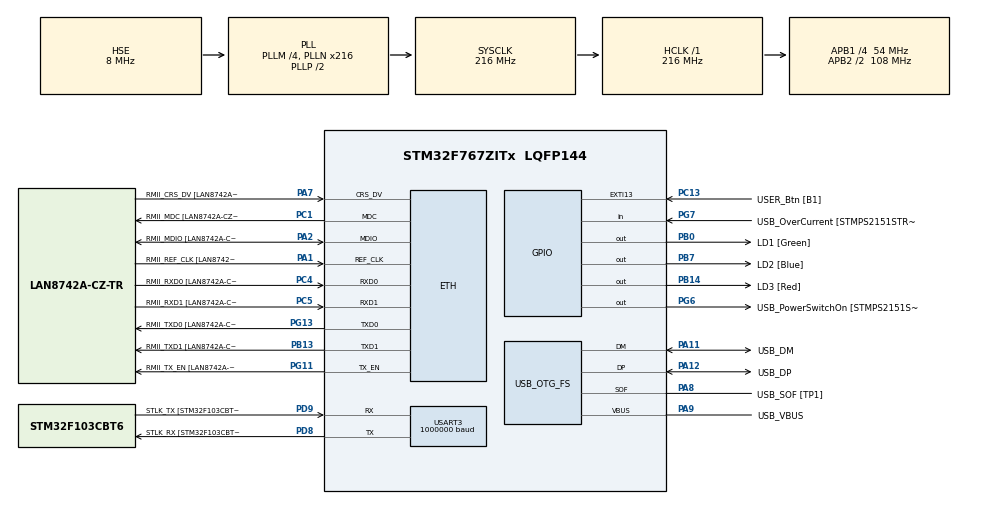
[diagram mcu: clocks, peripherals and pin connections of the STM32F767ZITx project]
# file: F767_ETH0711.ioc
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Dma.Request0=USART3_RX
Dma.USART3_RX.0.Direction=DMA_PERIPH_TO_MEMORY
Dma.USART3_RX.0.FIFOMode=DMA_FIFOMODE_DISABLE
Dma.USART3_RX.0.Instance=DMA1_Stream1
Dma.USART3_RX.0.MemDataAlignment=DMA_MDATAALIGN_BYTE
Dma.USART3_RX.0.MemInc=DMA_MINC_ENABLE
Dma.USART3_RX.0.Mode=DMA_NORMAL
Dma.USART3_RX.0.PeriphDataAlignment=DMA_PDATAALIGN_BYTE
Dma.USART3_RX.0.PeriphInc=DMA_PINC_DISABLE
Dma.USART3_RX.0.Priority=DMA_PRIORITY_LOW
ETH.MediaInterface=ETH_MEDIA_INTERFACE_RMII
ETH.PHY_Name=LAN8742A_PHY_ADDRESS
ETH.PHY_Value=0
ETH.PhyAddress=0
FREERTOS.INCLUDE_pcTaskGetTaskName=1
FREERTOS.INCLUDE_uxTaskGetStackHighWaterMark2=1
FREERTOS.INCLUDE_vTaskCleanUpResources=1
FREERTOS.INCLUDE_xEventGroupSetBitFromISR=1
FREERTOS.INCLUDE_xSemaphoreGetMutexHolder=1
FREERTOS.INCLUDE_xTaskAbortDelay=1
FREERTOS.INCLUDE_xTaskGetCurrentTaskHandle=1
FREERTOS.INCLUDE_xTaskGetHandle=1
FREERTOS.Tasks01=defaultTask,24,256,StartDefaultTask,Default,NULL,Dynamic,NULL,NULL
FREERTOS.configMINIMAL_STACK_SIZE=256
FREERTOS.configUSE_NEWLIB_REENTRANT=0
LWIP.ETHARP_DEBUG=LWIP_DBG_ON
LWIP.IP_FORWARD=0
LWIP.LWIP_COMPAT_SOCKETS=2
LWIP.LWIP_DNS=1
LWIP.LWIP_IPV6=0
LWIP.LWIP_NETIF_EXT_STATUS_CALLBACK=1
LWIP.LWIP_NETIF_LINK_CALLBACK=1
LWIP.LWIP_NETIF_LOOPBACK=1
LWIP.LWIP_NETIF_STATUS_CALLBACK=1
LWIP.LWIP_TCP_SACK_OUT=1
LWIP.NETIF_DEBUG=LWIP_DBG_ON
LWIP.SOCKETS_DEBUG=LWIP_DBG_ON
LWIP.TCP_DEBUG=LWIP_DBG_ON
LWIP.Version=v2.1.2_Cube
Mcu.Family=STM32F7
Mcu.Name=STM32F767ZITx
Mcu.Package=LQFP144
NVIC.DMA1_Stream1_IRQn=true\:5\:0\:false\:false\:true\:true\:false\:true
NVIC.ETH_IRQn=true\:5\:0\:false\:false\:true\:true\:false\:true
NVIC.PriorityGroup=NVIC_PRIORITYGROUP_4
NVIC.USART3_IRQn=true\:5\:0\:false\:false\:true\:true\:true\:true
PA1.GPIO_Label=RMII_REF_CLK [LAN8742A-CZ-TR_REFCLK0]
PA1.Mode=RMII
PA1.Signal=ETH_REF_CLK
PA10.GPIO_Label=USB_ID
PA10.Signal=USB_OTG_FS_ID
PA11.GPIO_Label=USB_DM
PA11.Mode=Device_Only
PA11.Signal=USB_OTG_FS_DM
PA12.GPIO_Label=USB_DP
PA12.Mode=Device_Only
PA12.Signal=USB_OTG_FS_DP
PA13.GPIO_Label=TMS
PA13.Mode=Serial_Wire
PA13.Signal=SYS_JTMS-SWDIO
PA14.GPIO_Label=TCK
PA14.Mode=Serial_Wire
PA14.Signal=SYS_JTCK-SWCLK
PA2.GPIO_Label=RMII_MDIO [LAN8742A-CZ-TR_MDIO]
PA2.Mode=RMII
PA2.Signal=ETH_MDIO
PA7.GPIO_Label=RMII_CRS_DV [LAN8742A-CZ-TR_CRS_DV]
PA7.Mode=RMII
PA7.Signal=ETH_CRS_DV
PA8.GPIO_Label=USB_SOF [TP1]
PA8.Mode=Activate_SOF_FS
PA8.Signal=USB_OTG_FS_SOF
PA9.GPIO_Label=USB_VBUS
PA9.Mode=Activate_VBUS
PA9.Signal=USB_OTG_FS_VBUS
PB0.GPIO_Label=LD1 [Green]
PB0.Signal=GPIO_Output
PB13.GPIO_Label=RMII_TXD1 [LAN8742A-CZ-TR_TXD1]
PB13.Mode=RMII
PB13.Signal=ETH_TXD1
PB14.GPIO_Label=LD3 [Red]
PB14.Signal=GPIO_Output
PB3.GPIO_Label=SWO
PB3.Signal=SYS_JTDO-SWO
PB7.GPIO_Label=LD2 [Blue]
PB7.Signal=GPIO_Output
PC1.GPIO_Label=RMII_MDC [LAN8742A-CZ-TR_MDC]
PC1.Mode=RMII
PC1.Signal=ETH_MDC
PC13.GPIO_Label=USER_Btn [B1]
PC13.Signal=GPXTI13
PC14/OSC32_IN.Mode=LSE-External-Oscillator
PC14/OSC32_IN.Signal=RCC_OSC32_IN
PC15/OSC32_OUT.Mode=LSE-External-Oscillator
PC15/OSC32_OUT.Signal=RCC_OSC32_OUT
PC4.GPIO_Label=RMII_RXD0 [LAN8742A-CZ-TR_RXD0]
PC4.Mode=RMII
PC4.Signal=ETH_RXD0
PC5.GPIO_Label=RMII_RXD1 [LAN8742A-CZ-TR_RXD1]
PC5.Mode=RMII
PC5.Signal=ETH_RXD1
PD8.GPIO_Label=STLK_RX [STM32F103CBT6_PA3]
PD8.Mode=Asynchronous
PD8.Signal=USART3_TX
PD9.GPIO_Label=STLK_TX [STM32F103CBT6_PA2]
PD9.Mode=Asynchronous
PD9.Signal=USART3_RX
PG11.GPIO_Label=RMII_TX_EN [LAN8742A-CZ-TR_TXEN]
PG11.Mode=RMII
PG11.Signal=ETH_TX_EN
PG13.GPIO_Label=RMII_TXD0 [LAN8742A-CZ-TR_TXD0]
PG13.Mode=RMII
PG13.Signal=ETH_TXD0
PG6.GPIO_Label=USB_PowerSwitchOn [STMPS2151STR_EN]
PG6.Signal=GPIO_Output
PG7.GPIO_Label=USB_OverCurrent [STMPS2151STR_FAULT]
PG7.Signal=GPIO_Input
PH0/OSC_IN.GPIO_Label=MCO [STM32F103CBT6_PA8]
PH0/OSC_IN.Mode=HSE-External-Clock-Source
PH0/OSC_IN.Signal=RCC_OSC_IN
PH1/OSC_OUT.Mode=HSE-External-Clock-Source
PH1/OSC_OUT.Signal=RCC_OSC_OUT
ProjectManager.HeapSize=0x1000
ProjectManager.StackSize=0x1000
ProjectManager.TargetToolchain=MDK-ARM V5.27
RCC.48MHZClocksFreq_Value=24000000
RCC.AHBFreq_Value=216000000
RCC.APB1CLKDivider=RCC_HCLK_DIV4
RCC.APB1Freq_Value=54000000
RCC.APB1TimFreq_Value=108000000
RCC.APB2CLKDivider=RCC_HCLK_DIV2
RCC.APB2Freq_Value=108000000
RCC.APB2TimFreq_Value=216000000
RCC.CortexFreq_Value=216000000
RCC.HCLKFreq_Value=216000000
RCC.HSE_VALUE=8000000
RCC.HSI_VALUE=16000000
RCC.PLLM=4
RCC.PLLMUL=RCC_PLL_MUL9
RCC.PLLN=216
RCC.PLLQ=9
RCC.PRESCALERUSB=RCC_USBCLKSOURCE_PLL_DIV1_5
RCC.SYSCLKFreq_VALUE=216000000
RCC.SYSCLKSource=RCC_SYSCLKSOURCE_PLLCLK
RCC.SYSCLKSourceVirtual=RCC_SYSCLKSOURCE_PLLCLK
RCC.USBFreq_Value=48000000
RCC.VCOOutputFreq_Value=432000000
USART3.BaudRate=1000000
USART3.VirtualMode-Asynchronous=VM_ASYNC
USB_OTG_FS.VirtualMode=Device_Only
VP_FREERTOS_VS_CMSIS_V2.Mode=CMSIS_V2
VP_LWIP_VS_Enabled.Mode=Enabled
board=NUCLEO-F767ZI

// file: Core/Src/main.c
/* USER CODE BEGIN Header */
/**
  ******************************************************************************
  * @file           : main.c
  * @brief          : Main program body
  ******************************************************************************
  * @attention
  *
  * <h2><center>&copy; Copyright (c) 2020 STMicroelectronics.
  * All rights reserved.</center></h2>
  *
  * This software component is licensed by ST under Ultimate Liberty license
  * SLA0044, the "License"; You may not use this file except in compliance with
  * the License. You may obtain a copy of the License at:
  *                             www.st.com/SLA0044
  *
  ******************************************************************************
  */
/* USER CODE END Header */
#include "main.h"
#include "cmsis_os.h"
#include "dma.h"
#include "lwip.h"
#include "usart.h"
#include "usb_otg.h"
#include "gpio.h"

/* USER CODE BEGIN Includes */
#include "tcp_client.h"
#include "printf.h"
#include "kfifo.h"
/* USER CODE END Includes */

void SystemClock_Config(void);
void MX_FREERTOS_Init(void);

int main(void)
{

    /* MCU Configuration--------------------------------------------------------*/

    /* Reset of all peripherals, Initializes the Flash interface and the Systick. */
    HAL_Init();

    /* Configure the system clock */
    SystemClock_Config();

    /* Initialize all configured peripherals */
    MX_GPIO_Init();
    MX_DMA_Init();
    MX_USART3_UART_Init();
    MX_USB_OTG_FS_USB_Init();
    /* USER CODE BEGIN 2 */

    my_fifo_init(&gFifoRx, gTcpReg.rx_buff, TCP_BUFF_MAX);
    my_fifo_init(&gFifoTx, gTcpReg.tx_buff, TCP_BUFF_MAX);

    HAL_UART_Receive_DMA(&huart3, gTcpReg.dma_buff, UART_DMA_BUFF_MAX);
    __HAL_UART_ENABLE_IT(&huart3, UART_IT_IDLE);

    /* USER CODE END 2 */

    /* Init scheduler */
    osKernelInitialize();  /* Call init function for freertos objects (in freertos.c) */
    MX_FREERTOS_Init();
    /* Start scheduler */
    osKernelStart();

    /* We should never get here as control is now taken by the scheduler */
    /* Infinite loop */
    while (1)
    {

    }
}

void SystemClock_Config(void)
{
    RCC_OscInitTypeDef RCC_OscInitStruct = {0};
    RCC_ClkInitTypeDef RCC_ClkInitStruct = {0};
    RCC_PeriphCLKInitTypeDef PeriphClkInitStruct = {0};

    /** Configure LSE Drive Capability
    */
    HAL_PWR_EnableBkUpAccess();
    /** Configure the main internal regulator output voltage
    */
    __HAL_RCC_PWR_CLK_ENABLE();
    __HAL_PWR_VOLTAGESCALING_CONFIG(PWR_REGULATOR_VOLTAGE_SCALE1);
    /** Initializes the RCC Oscillators according to the specified parameters
    * in the RCC_OscInitTypeDef structure.
    */
    RCC_OscInitStruct.OscillatorType = RCC_OSCILLATORTYPE_HSE;
    RCC_OscInitStruct.HSEState = RCC_HSE_BYPASS;
    RCC_OscInitStruct.PLL.PLLState = RCC_PLL_ON;
    RCC_OscInitStruct.PLL.PLLSource = RCC_PLLSOURCE_HSE;
    RCC_OscInitStruct.PLL.PLLM = 4;
    RCC_OscInitStruct.PLL.PLLN = 216;
    RCC_OscInitStruct.PLL.PLLP = RCC_PLLP_DIV2;
    RCC_OscInitStruct.PLL.PLLQ = 9;
    if (HAL_RCC_OscConfig(&RCC_OscInitStruct) != HAL_OK)
    {
        Error_Handler();
    }
    /** Activate the Over-Drive mode
    */
    if (HAL_PWREx_EnableOverDrive() != HAL_OK)
    {
        Error_Handler();
    }
    /** Initializes the CPU, AHB and APB buses clocks
    */
    RCC_ClkInitStruct.ClockType = RCC_CLOCKTYPE_HCLK | RCC_CLOCKTYPE_SYSCLK
                                  | RCC_CLOCKTYPE_PCLK1 | RCC_CLOCKTYPE_PCLK2;
    RCC_ClkInitStruct.SYSCLKSource = RCC_SYSCLKSOURCE_PLLCLK;
    RCC_ClkInitStruct.AHBCLKDivider = RCC_SYSCLK_DIV1;
    RCC_ClkInitStruct.APB1CLKDivider = RCC_HCLK_DIV4;
    RCC_ClkInitStruct.APB2CLKDivider = RCC_HCLK_DIV2;

    if (HAL_RCC_ClockConfig(&RCC_ClkInitStruct, FLASH_LATENCY_7) != HAL_OK)
    {
        Error_Handler();
    }
    PeriphClkInitStruct.PeriphClockSelection = RCC_PERIPHCLK_USART3 | RCC_PERIPHCLK_CLK48;
    PeriphClkInitStruct.Usart3ClockSelection = RCC_USART3CLKSOURCE_PCLK1;
    PeriphClkInitStruct.Clk48ClockSelection = RCC_CLK48SOURCE_PLL;
    if (HAL_RCCEx_PeriphCLKConfig(&PeriphClkInitStruct) != HAL_OK)
    {
        Error_Handler();
    }
}

void Error_Handler(void)
{
}

/************************ (C) COPYRIGHT STMicroelectronics *****END OF FILE****/

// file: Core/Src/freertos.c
/* USER CODE BEGIN Header */
/**
  ******************************************************************************
  * File Name          : freertos.c
  * Description        : Code for freertos applications
  ******************************************************************************
  * @attention
  *
  * <h2><center>&copy; Copyright (c) 2020 STMicroelectronics.
  * All rights reserved.</center></h2>
  *
  * This software component is licensed by ST under Ultimate Liberty license
  * SLA0044, the "License"; You may not use this file except in compliance with
  * the License. You may obtain a copy of the License at:
  *                             www.st.com/SLA0044
  *
  ******************************************************************************
  */
/* USER CODE END Header */

#include "FreeRTOS.h"
#include "task.h"
#include "main.h"
#include "cmsis_os.h"

/* USER CODE BEGIN Includes */
#include "printf.h"
#include "tcp_client.h"
#include "mqttclient.h"

#include "semphr.h"
#include "queue.h"

#include "tftlcd.h"
#include "lcd_print.h"
#include "pic.h"
/* USER CODE END Includes */

/* USER CODE BEGIN PM */

#include "queue.h"
QueueHandle_t MQTT_Data_Queue = NULL;

/* USER CODE END PM */

/* Definitions for defaultTask */
osThreadId_t defaultTaskHandle;
const osThreadAttr_t defaultTask_attributes = {
    .name = "defaultTask",
    .priority = (osPriority_t) osPriorityNormal,
    .stack_size = 256 * 4
};

/* USER CODE BEGIN FunctionPrototypes */
//task_led
osThreadId_t task_led_handle;
const osThreadAttr_t task_led_attributes = {
    .name = "task_led",
    .priority = (osPriority_t) osPriorityHigh,
    .stack_size = 256 * 4
};
void task_led_entry(void *argument);

//task_test_c
osThreadId_t task_test_c_handle;
const osThreadAttr_t task_test_c_attributes = {
    .name = "task_test_c",
    .priority = (osPriority_t) osPriorityNormal,
    .stack_size = 256 * 4
};
void task_test_c_entry(void *argument);

//task_test_c
osThreadId_t lcd_dis_handle;
const osThreadAttr_t lcd_dis_attributes = {
    .name = "lcd_dis",
    .priority = (osPriority_t) osPriorityRealtime,
    .stack_size = 256 * 4
};
void lcd_dis_entry(void *argument);

/* USER CODE END FunctionPrototypes */

void StartDefaultTask(void *argument);

extern void MX_LWIP_Init(void);
void MX_FREERTOS_Init(void); /* (MISRA C 2004 rule 8.1) */

void MX_FREERTOS_Init(void) {

    /* USER CODE BEGIN RTOS_QUEUES */
    /* add queues, ... */
    /* 创建Test_Queue */
    MQTT_Data_Queue = xQueueCreate(10, sizeof(DHT11_Data_TypeDef));    /*消息的大�? */
    /* USER CODE END RTOS_QUEUES */

    /* Create the thread(s) */
    /* creation of defaultTask */
    //defaultTaskHandle = osThreadNew(StartDefaultTask, NULL, &defaultTask_attributes);

    /* USER CODE BEGIN RTOS_THREADS */
    /* add threads, ... */
    task_led_handle = osThreadNew(task_led_entry, NULL, &task_led_attributes);
    lcd_dis_handle = osThreadNew(lcd_dis_entry, NULL, &lcd_dis_attributes);
    task_test_c_handle = osThreadNew(task_test_c_entry, NULL, &task_test_c_attributes);

    /* USER CODE END RTOS_THREADS */

}

void StartDefaultTask(void *argument)
{
    /* init code for LWIP */
    MX_LWIP_Init();
    /* USER CODE BEGIN StartDefaultTask */

    mqtt_thread_init();

    /* Infinite loop */
    for(;;)
    {
        task_tcp_client();
        osDelay(100);
    }
    /* USER CODE END StartDefaultTask */
}

/* USER CODE BEGIN Application */
uint32_t task_led_cnt = 0;
char buff[200] = {0};
void task_led_entry(void *argument)
{
    uint8_t led_flag = 1;

    TFTLCD_Init_ILI9225();

    while(1)
    {
        HAL_GPIO_WritePin(LD1_GPIO_Port, LD1_Pin, (GPIO_PinState)(led_flag & (1 << 0)));
        HAL_GPIO_WritePin(LD2_GPIO_Port, LD2_Pin, (GPIO_PinState)(led_flag & (1 << 1)));
        HAL_GPIO_WritePin(LD3_GPIO_Port, LD3_Pin, (GPIO_PinState)(led_flag & (1 << 2)));

        led_flag <<= 1;
        if(led_flag >= 0x10)
        {
            led_flag = 0x01;
        }

        uint8_t size = sizeof(color_buff)/sizeof(color_buff[0]);

        //打印空闲堆栈
        lcd_print("xPortGetFreeHeapSize = %d", xPortGetFreeHeapSize());
        //lcd_print("xPortGetMinimumEverFreeHeapSize = %d",xPortGetMinimumEverFreeHeapSize());

        osDelay(1000);
    }
}

DHT11_Data_TypeDef test = {0};
void task_test_c_entry(void *argument)
{
    uint32_t task_cnt = 0;

    while(1)
    {
        test.humidity += 0.1;
        test.temperature += 0.1;

        xQueueSend(MQTT_Data_Queue, &test, 0);

        task_cnt++;
        //lcd_print("task_cnt = %04d", task_cnt);
        int * temp = malloc(10000);
        *temp = 1000;
        (*temp)++;
        lcd_print("*temp = %d", *temp);

        if(task_cnt > 20)
        {
//            task_cnt = 0;
//            __HAL_RCC_PWR_CLK_ENABLE();
//            HAL_GPIO_DeInit(GPIOA, GPIO_PIN_All);
//            HAL_GPIO_DeInit(GPIOB, GPIO_PIN_All);
//            HAL_GPIO_DeInit(GPIOC, GPIO_PIN_All);
//            HAL_GPIO_DeInit(GPIOD, GPIO_PIN_All);
//            HAL_GPIO_DeInit(GPIOE, GPIO_PIN_All);
//            HAL_GPIO_DeInit(GPIOF, GPIO_PIN_All);
//            HAL_GPIO_DeInit(GPIOG, GPIO_PIN_All);
//            __disable_irq();
//            HAL_PWREx_EnableFlashPowerDown();
//            __HAL_RCC_CLEAR_RESET_FLAGS();
//            HAL_PWR_EnableWakeUpPin(PWR_WAKEUP_PIN1);
//            __HAL_PWR_CLEAR_FLAG(PWR_FLAG_WU);
//            HAL_PWR_EnterSTANDBYMode();
        }

        osDelay(200);
    }
}

SemaphoreHandle_t lcd_sync;
void lcd_dis_entry(void *argument)
{
    uint32_t task_cnt = 0;
    lcd_sync = xSemaphoreCreateBinary();
    while(1)
    {
        xSemaphoreTake(lcd_sync, 50);
        LCD_ShowPicture(0, 0, 176, 220, lcd_disp[0][0]);
        xSemaphoreGive(lcd_sync);
        osDelay(50);
    }
}
/* USER CODE END Application */

/************************ (C) COPYRIGHT STMicroelectronics *****END OF FILE****/
